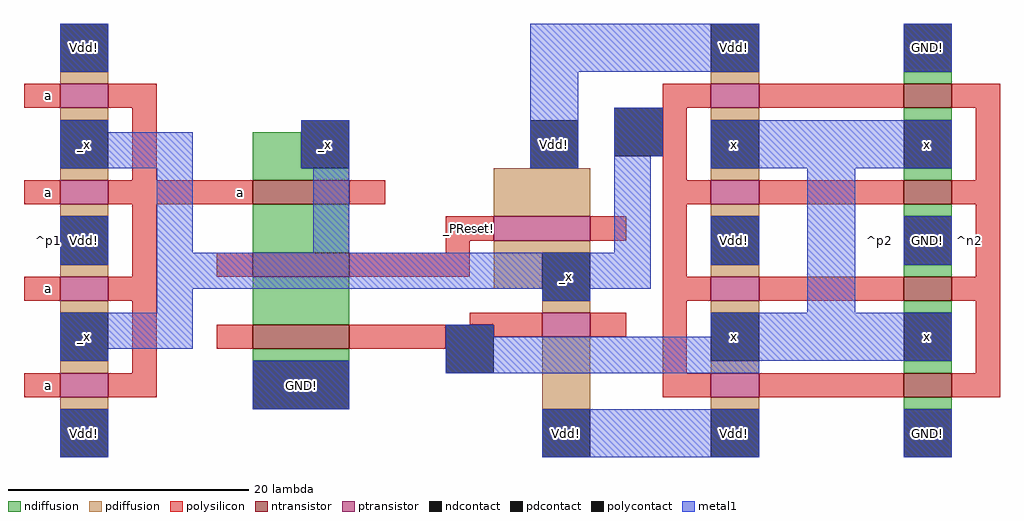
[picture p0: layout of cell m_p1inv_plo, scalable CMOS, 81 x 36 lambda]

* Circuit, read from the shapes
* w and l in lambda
.subckt m_p1inv_plo GND! Vdd! _PReset! _x a x
M1 n1 x GND! VSUBS nfet w=8 l=2
M2 n2 _PReset! n1 VSUBS nfet w=8 l=2
M3 _x a n2 VSUBS nfet w=8 l=2
M4 x _x GND! VSUBS nfet w=4 l=2 m=4
M5 _x a Vdd! NWELL pfet w=4 l=2 m=4
M6 Vdd! _PReset! _x NWELL pfet w=8 l=2
M7 _x x Vdd! NWELL pfet w=4 l=2
M8 x _x Vdd! NWELL pfet w=4 l=2 m=4
.ends

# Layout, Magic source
magic
tech scmos
<< ndiffusion >>
rect -46 26 -42 27
rect -100 19 -96 22
rect -100 18 -92 19
rect -100 12 -92 16
rect -46 23 -42 24
rect -46 18 -42 19
rect -100 6 -92 10
rect -46 15 -42 16
rect -46 10 -42 11
rect -100 3 -92 4
rect -46 7 -42 8
rect -46 2 -42 3
rect -46 -1 -42 0
<< pdiffusion >>
rect -116 26 -112 27
rect -62 26 -58 27
rect -116 23 -112 24
rect -116 18 -112 19
rect -116 15 -112 16
rect -116 10 -112 11
rect -80 15 -72 19
rect -62 23 -58 24
rect -62 18 -58 19
rect -80 12 -72 13
rect -116 7 -112 8
rect -116 2 -112 3
rect -80 9 -76 12
rect -76 7 -72 8
rect -62 15 -58 16
rect -62 10 -58 11
rect -116 -1 -112 0
rect -76 -1 -72 5
rect -62 7 -58 8
rect -62 2 -58 3
rect -62 -1 -58 0
<< ntransistor >>
rect -46 24 -42 26
rect -100 16 -92 18
rect -46 16 -42 18
rect -100 10 -92 12
rect -46 8 -42 10
rect -100 4 -92 6
rect -46 0 -42 2
<< ptransistor >>
rect -116 24 -112 26
rect -62 24 -58 26
rect -116 16 -112 18
rect -62 16 -58 18
rect -80 13 -72 15
rect -116 8 -112 10
rect -62 8 -58 10
rect -116 0 -112 2
rect -76 5 -72 7
rect -62 0 -58 2
<< polysilicon >>
rect -119 24 -116 26
rect -112 24 -108 26
rect -66 24 -62 26
rect -58 24 -46 26
rect -42 24 -38 26
rect -110 18 -108 24
rect -119 16 -116 18
rect -112 16 -100 18
rect -92 16 -89 18
rect -110 10 -108 16
rect -66 18 -64 24
rect -40 18 -38 24
rect -66 16 -62 18
rect -58 16 -46 18
rect -42 16 -38 18
rect -84 13 -80 15
rect -72 13 -69 15
rect -84 12 -82 13
rect -103 10 -100 12
rect -92 10 -82 12
rect -119 8 -116 10
rect -112 8 -108 10
rect -110 2 -108 8
rect -66 10 -64 16
rect -40 10 -38 16
rect -66 8 -62 10
rect -58 8 -46 10
rect -42 8 -38 10
rect -82 6 -76 7
rect -103 4 -100 6
rect -92 4 -84 6
rect -119 0 -116 2
rect -112 0 -108 2
rect -80 5 -76 6
rect -72 5 -69 7
rect -66 2 -64 8
rect -40 2 -38 8
rect -66 0 -62 2
rect -58 0 -46 2
rect -42 0 -38 2
<< ndcontact >>
rect -46 27 -42 31
rect -96 19 -92 23
rect -46 19 -42 23
rect -46 11 -42 15
rect -100 -1 -92 3
rect -46 3 -42 7
rect -46 -5 -42 -1
<< pdcontact >>
rect -116 27 -112 31
rect -62 27 -58 31
rect -116 19 -112 23
rect -77 19 -73 23
rect -116 11 -112 15
rect -62 19 -58 23
rect -116 3 -112 7
rect -76 8 -72 12
rect -62 11 -58 15
rect -62 3 -58 7
rect -116 -5 -112 -1
rect -76 -5 -72 -1
rect -62 -5 -58 -1
<< polycontact >>
rect -70 20 -66 24
rect -84 2 -80 6
<< metal1 >>
rect -116 27 -112 31
rect -77 27 -58 31
rect -46 27 -42 31
rect -116 22 -112 23
rect -116 19 -105 22
rect -96 19 -92 23
rect -77 19 -73 27
rect -70 20 -66 24
rect -116 11 -112 15
rect -108 12 -105 19
rect -95 12 -92 19
rect -70 12 -67 20
rect -62 19 -42 23
rect -108 9 -67 12
rect -62 11 -58 15
rect -108 7 -105 9
rect -76 8 -72 9
rect -54 7 -50 19
rect -46 11 -42 15
rect -116 4 -105 7
rect -84 5 -80 6
rect -62 5 -42 7
rect -116 3 -112 4
rect -84 3 -42 5
rect -100 -1 -92 3
rect -84 2 -58 3
rect -116 -5 -112 -1
rect -76 -5 -58 -1
rect -46 -5 -42 -1
<< labels >>
rlabel polysilicon -117 1 -117 1 3 a
rlabel polysilicon -117 9 -117 9 3 a
rlabel polysilicon -117 25 -117 25 3 a
rlabel polysilicon -117 17 -117 17 3 a
rlabel space -119 -6 -115 32 7 ^p1
rlabel polysilicon -101 17 -101 17 1 a
rlabel polysilicon -82 14 -82 14 1 _PReset!
rlabel space -59 -7 -37 33 3 ^p2
rlabel space -43 -6 -38 32 3 ^n2
rlabel pdcontact -75 21 -75 21 5 Vdd!
rlabel pdcontact -74 10 -74 10 6 _x
rlabel pdcontact -114 21 -114 21 5 _x
rlabel pdcontact -114 5 -114 5 1 _x
rlabel pdcontact -114 13 -114 13 5 Vdd!
rlabel pdcontact -114 -3 -114 -3 1 Vdd!
rlabel pdcontact -114 29 -114 29 5 Vdd!
rlabel ndcontact -96 1 -96 1 1 GND!
rlabel ndcontact -94 21 -94 21 5 _x
rlabel pdcontact -74 -3 -74 -3 1 Vdd!
rlabel pdcontact -60 -3 -60 -3 1 Vdd!
rlabel pdcontact -60 5 -60 5 1 x
rlabel pdcontact -60 13 -60 13 5 Vdd!
rlabel pdcontact -60 21 -60 21 5 x
rlabel pdcontact -60 29 -60 29 5 Vdd!
rlabel ndcontact -44 29 -44 29 5 GND!
rlabel ndcontact -44 21 -44 21 5 x
rlabel ndcontact -44 5 -44 5 1 x
rlabel ndcontact -44 13 -44 13 5 GND!
rlabel ndcontact -44 -3 -44 -3 1 GND!
<< end >>
